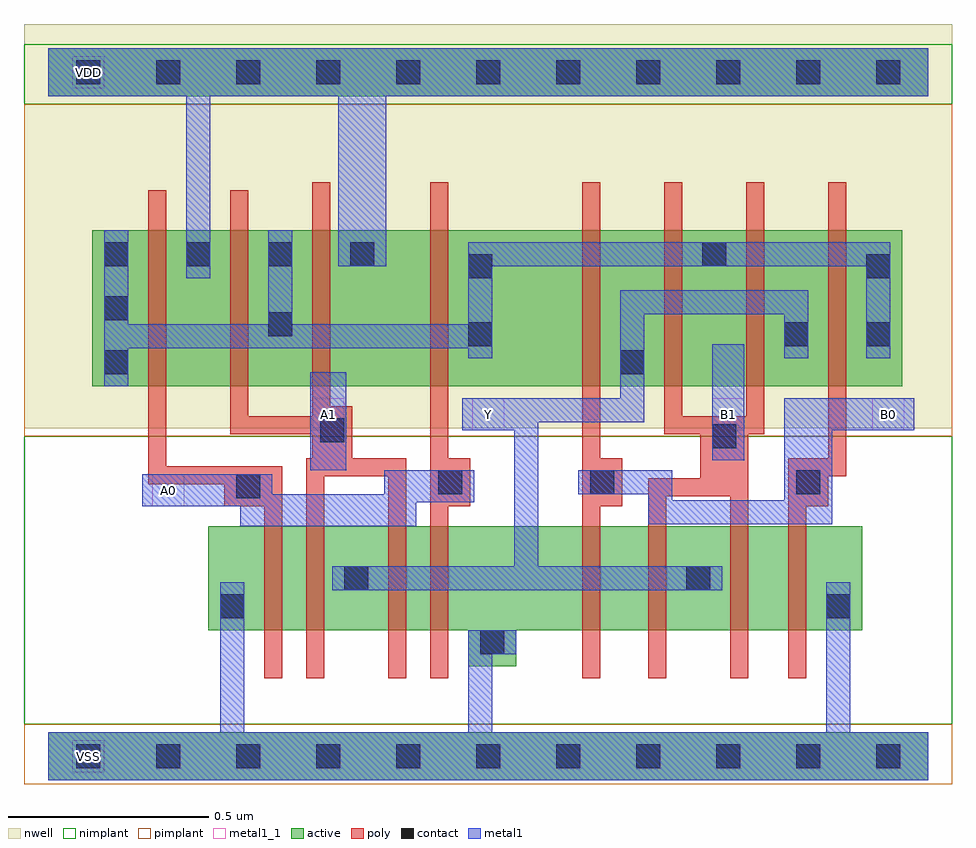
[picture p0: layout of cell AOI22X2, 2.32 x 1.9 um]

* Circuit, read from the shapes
.subckt AOI22X2 A0 A1 B0 B1 VDD VSS Y
M1 n1 A0 VSS VSS nfet w=0.26u l=0.045u
M2 Y A1 n1 VSS nfet w=0.26u l=0.045u
M3 n2 A1 Y VSS nfet w=0.26u l=0.045u
M4 VSS A0 n2 VSS nfet w=0.26u l=0.045u
M5 n3 B0 VSS VSS nfet w=0.26u l=0.045u
M6 Y B1 n3 VSS nfet w=0.26u l=0.045u
M7 n4 B1 Y VSS nfet w=0.26u l=0.045u
M8 VSS B0 n4 VSS nfet w=0.26u l=0.045u
M9 VDD A0 n5 VDD pfet w=0.39u l=0.045u m=2
M10 n5 A1 VDD VDD pfet w=0.39u l=0.045u m=2
M11 Y B0 n5 VDD pfet w=0.39u l=0.045u m=2
M12 n5 B1 Y VDD pfet w=0.39u l=0.045u m=2
.ends

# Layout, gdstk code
import gdstk
lib = gdstk.Library(unit=1e-6, precision=5e-10)
def R(c, l, rs):  # rectangles x0, y0, x1, y1
    for r in rs: c.add(gdstk.rectangle(r[:2], r[2:], *l))
def A(c, l, x, y, w, h, nx, ny, dx, dy):  # array of equal rectangles
    R(c, l, [(x+i*dx, y+j*dy, x+i*dx+w, y+j*dy+h) for i in range(nx) for j in range(ny)])
def P(c, l, *ps):  # polygons
    for p in ps: c.add(gdstk.Polygon(p, *l))
active = (1, 0)
nwell = (2, 0)
poly = (3, 0)
nimplant = (4, 0)
pimplant = (5, 0)
contact = (6, 0)
metal1 = (7, 0)
metal1_1 = (7, 1)

aoi22x2 = lib.new_cell('AOI22X2')
R(aoi22x2, active, [(0,-0.06,2.2,0.06), (0.11,0.925,2.135,1.315), (0,1.65,2.2,1.77)])
P(aoi22x2, active, [(0.4,0.575),(2.035,0.575),(2.035,0.315),(1.17,0.315),(1.17,0.225),(1.05,0.225),(1.05,0.315),(0.4,0.315)])
R(aoi22x2, nwell, [(-0.06,0.82,2.26,1.83)])
P(aoi22x2, poly, [(0.25,1.415),(0.295,1.415),(0.295,0.725),(0.585,0.725),(0.585,0.195),(0.54,0.195),(0.54,0.625),(0.44,0.625),(0.44,0.68),(0.25,0.68)],
  [(0.455,1.415),(0.5,1.415),(0.5,0.85),(0.66,0.85),(0.66,1.435),(0.705,1.435),(0.705,0.875),(0.76,0.875),(0.76,0.745),(0.895,0.745),(0.895,0.195),(0.85,0.195),(0.85,0.7),(0.69,0.7),(0.69,0.195),(0.645,0.195),(0.645,0.745),(0.66,0.745),(0.66,0.805),(0.455,0.805)],
  [(0.955,1.435),(1,1.435),(1,0.745),(1.055,0.745),(1.055,0.625),(1,0.625),(1,0.195),(0.955,0.195)],
  [(1.335,1.435),(1.38,1.435),(1.38,0.745),(1.435,0.745),(1.435,0.625),(1.38,0.625),(1.38,0.195),(1.335,0.195)],
  [(1.54,1.435),(1.585,1.435),(1.585,0.85),(1.745,0.85),(1.745,1.435),(1.79,1.435),(1.79,0.805),(1.75,0.805),(1.75,0.195),(1.705,0.195),(1.705,0.65),(1.545,0.65),(1.545,0.195),(1.5,0.195),(1.5,0.695),(1.63,0.695),(1.63,0.805),(1.54,0.805)],
  [(1.95,1.435),(1.995,1.435),(1.995,0.7),(1.95,0.7),(1.95,0.625),(1.895,0.625),(1.895,0.195),(1.85,0.195),(1.85,0.745),(1.95,0.745)])
R(aoi22x2, nimplant, [(-0.06,0.08,2.26,0.8), (-0.06,1.63,2.26,1.78)])
R(aoi22x2, pimplant, [(-0.06,-0.07,2.26,0.08), (-0.06,0.8,2.26,1.63)])
A(aoi22x2, contact, 0.07, -0.03, 0.06, 0.06, 11, 2, 0.2, 1.71)
A(aoi22x2, contact, 0.14, 1.225, 0.06, 0.06, 4, 1, 0.205, 0)
R(aoi22x2, contact, [(1.08,0.255,1.14,0.315), (0.43,0.345,0.49,0.405), (1.945,0.345,2.005,0.405), (0.74,0.415,0.8,0.475), (1.595,0.415,1.655,0.475), (0.47,0.645,0.53,0.705), (0.975,0.655,1.035,0.715), (1.355,0.655,1.415,0.715), (1.87,0.655,1.93,0.715), (1.66,0.77,1.72,0.83), (0.68,0.785,0.74,0.845), (0.14,0.955,0.2,1.015), (1.43,0.955,1.49,1.015), (1.05,1.025,1.11,1.085), (1.84,1.025,1.9,1.085), (2.045,1.025,2.105,1.085), (0.55,1.05,0.61,1.11), (0.14,1.09,0.2,1.15), (1.05,1.195,1.11,1.255), (2.045,1.195,2.105,1.255), (1.635,1.225,1.695,1.285)])
R(aoi22x2, metal1, [(0.655,0.715,0.745,0.96), (1.66,0.74,1.74,1.03)])
P(aoi22x2, metal1, [(0,1.77),(2.2,1.77),(2.2,1.65),(0.845,1.65),(0.845,1.225),(0.725,1.225),(0.725,1.65),(0.405,1.65),(0.405,1.195),(0.345,1.195),(0.345,1.65),(0,1.65)],
  [(0.14,1.315),(0.2,1.315),(0.2,1.08),(0.55,1.08),(0.55,1.315),(0.61,1.315),(0.61,1.08),(1.05,1.08),(1.05,1.285),(2.105,1.285),(2.105,0.995),(2.045,0.995),(2.045,1.225),(1.11,1.225),(1.11,0.995),(1.05,0.995),(1.05,1.02),(0.2,1.02),(0.2,0.925),(0.14,0.925)],
  [(1.9,1.165),(1.9,0.995),(1.84,0.995),(1.84,1.105),(1.49,1.105),(1.49,0.835),(1.225,0.835),(1.225,0.475),(1.685,0.475),(1.685,0.415),(0.71,0.415),(0.71,0.475),(1.165,0.475),(1.165,0.815),(1.035,0.815),(1.035,0.895),(1.43,0.895),(1.43,1.165)],
  [(0.235,0.705),(0.56,0.705),(0.56,0.655),(0.84,0.655),(0.84,0.715),(1.065,0.715),(1.065,0.635),(0.92,0.635),(0.92,0.575),(0.48,0.575),(0.48,0.625),(0.235,0.625)],
  [(1.84,0.895),(2.165,0.895),(2.165,0.815),(1.96,0.815),(1.96,0.58),(1.5,0.58),(1.5,0.655),(1.325,0.655),(1.325,0.715),(1.56,0.715),(1.56,0.64),(1.84,0.64)],
  [(0.43,0.435),(0.49,0.435),(0.49,0.06),(1.05,0.06),(1.05,0.315),(1.17,0.315),(1.17,0.255),(1.11,0.255),(1.11,0.06),(1.945,0.06),(1.945,0.435),(2.005,0.435),(2.005,0.06),(2.2,0.06),(2.2,-0.06),(0,-0.06),(0,0.06),(0.43,0.06)])
R(aoi22x2, metal1_1, [(0.06,-0.04,0.14,0.04), (0.26,0.625,0.34,0.705), (0.66,0.815,0.74,0.895), (1.06,0.815,1.14,0.895), (1.66,0.815,1.74,0.895), (2.06,0.815,2.14,0.895), (0.06,1.67,0.14,1.75)])
aoi22x2.add(gdstk.Label('Y', (1.1,0.855), layer=7, texttype=1))
aoi22x2.add(gdstk.Label('A1', (0.7,0.855), layer=7, texttype=1))
aoi22x2.add(gdstk.Label('B1', (1.7,0.855), layer=7, texttype=1))
aoi22x2.add(gdstk.Label('B0', (2.1,0.855), layer=7, texttype=1))
aoi22x2.add(gdstk.Label('A0', (0.3,0.665), layer=7, texttype=1))
aoi22x2.add(gdstk.Label('VDD', (0.1,1.71), layer=7, texttype=1))
aoi22x2.add(gdstk.Label('VSS', (0.1,0), layer=7, texttype=1))
aoi22x2.add(gdstk.Label('AOI22X2', (0,0), layer=63, texttype=0))

lib.write_gds('AOI22X2.gds')
